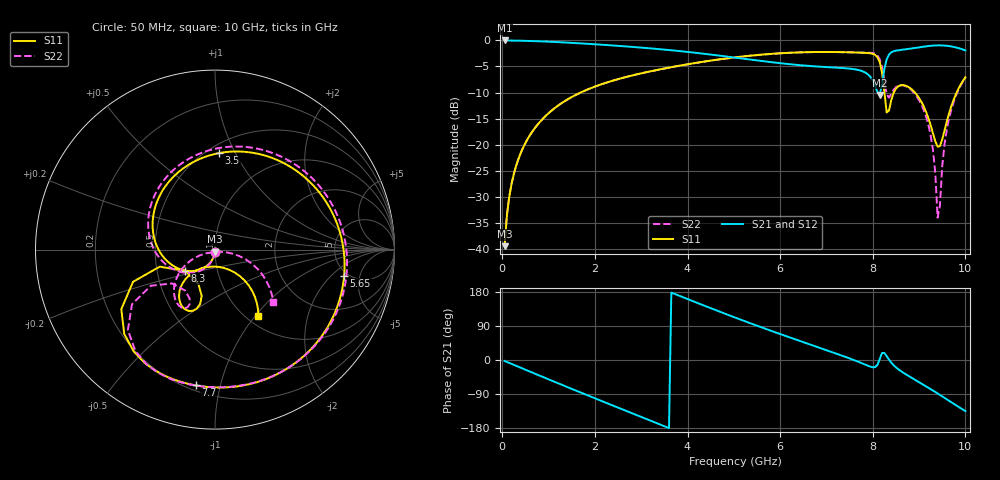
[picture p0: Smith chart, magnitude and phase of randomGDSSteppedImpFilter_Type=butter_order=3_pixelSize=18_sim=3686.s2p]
! freq	dB(S11)	phase(S11)	dB(S12)	phase(S12)
!  dB(S21)	phase(S21)	dB(S22)	phase(S22)
!S-par simulation data
#  GHz  S  DB  R 50
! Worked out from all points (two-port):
!   200 points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, 50 MHz to 10 GHz, reference 50 ohm
!   highest |S21| = -0.01 dB at 50 MHz (marker M1); lowest = -10.5 dB at 8.15 GHz (marker M2)
!   |S21| within 3 dB of the highest: start of sweep to 4.771 GHz; 8.334 GHz to end of sweep
!   lowest |S11| = -39.5 dB at 50 MHz (marker M3), VSWR 1.02, Z = 50 - j1.06 ohm
!   |S11| at or under -10 dB: start of sweep to 1.691 GHz; 8.252 GHz to 8.453 GHz (200.6 MHz wide, 2.4 % of centre); 8.91 GHz to 9.811 GHz (901.1 MHz wide, 9.63 % of centre)
!   |S22| runs from -39.5 to -2.2 dB; largest |S21 - S12| = 0
!   S11 on the Smith chart (normalised r, x): 50 MHz: 1.00, -0.02; 3.5 GHz: 0.57, +0.87; 5.65 GHz: 4.63, -2.91; 7.7 GHz: 0.23, -0.84; 8.3 GHz: 0.70, -0.17; 10 GHz: 1.13, -1.04
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0.05  -39.46 -91.7  -0.01 -2.6  -0.01 -2.6  -39.46 -91.5
0.2  -27.50 -100.9  -0.02 -10.3  -0.02 -10.3  -27.49 -99.9
0.5  -19.67 -117.4  -0.08 -25.7  -0.08 -25.7  -19.66 -115.0
1.75  -9.76 176.3  -0.60 -88.7  -0.60 -88.7  -9.76 -175.4
2.65  -7.06 130.1  -1.14 -133.1  -1.14 -133.1  -7.07 141.8
3.4  -5.56 92.5  -1.68 -169.9  -1.68 -169.9  -5.57 105.9
3.5  -5.38 87.5  -1.76 -174.8  -1.76 -174.8  -5.39 101.1
4.25  -4.21 51.3  -2.45 148.7  -2.45 148.7  -4.22 64.8
5.05  -3.22 14.6  -3.32 110.9  -3.32 110.9  -3.23 26.7
5.65  -2.69 -11.4  -4.00 83.8  -4.00 83.8  -2.70 -0.8
6.7  -2.23 -54.1  -4.94 38.8  -4.94 38.8  -2.23 -46.3
7.7  -2.34 -98.2  -5.69 -5.3  -5.69 -5.3  -2.31 -91.9
8  -2.58 -121.8  -7.69 -19.3  -7.69 -19.3  -2.42 -114.4
8.15  -4.17 -147.6  -10.48 2.7  -10.48 2.7  -3.59 -137.3
8.3  -13.81 -144.4  -3.64 10.3  -3.64 10.3  -10.34 -141.7
8.35  -13.45 -115.8  -2.71 0.9  -2.71 0.9  -10.97 -126.2
8.6  -8.61 -112.8  -1.83 -28.7  -1.83 -28.7  -8.57 -119.7
9.1  -12.67 -135.0  -1.19 -65.5  -1.19 -65.5  -13.35 -149.5
9.3  -17.82 -125.7  -0.99 -80.4  -0.99 -80.4  -21.03 -159.1
9.4  -20.38 -99.4  -0.95 -88.2  -0.95 -88.2  -33.99 -133.0
9.6  -15.49 -49.3  -1.03 -103.9  -1.03 -103.9  -17.00 -14.9
10  -7.07 -56.9  -1.91 -134.8  -1.91 -134.8  -7.18 -41.9
